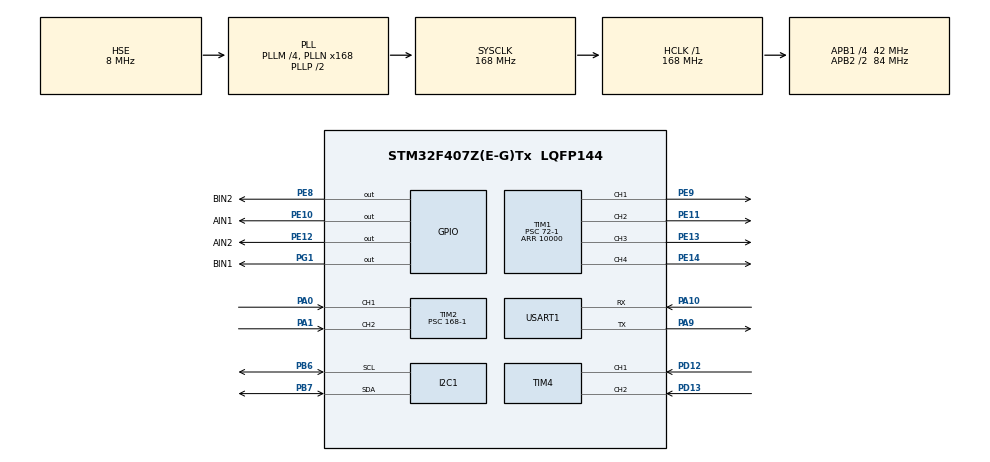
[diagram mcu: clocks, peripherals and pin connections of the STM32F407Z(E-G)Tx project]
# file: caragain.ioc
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Mcu.Family=STM32F4
Mcu.Name=STM32F407Z(E-G)Tx
Mcu.Package=LQFP144
NVIC.PriorityGroup=NVIC_PRIORITYGROUP_4
NVIC.TIM1_UP_TIM10_IRQn=true\:0\:0\:false\:false\:true\:true\:true\:true
NVIC.TIM2_IRQn=true\:0\:0\:false\:false\:true\:true\:true\:true
NVIC.TIM6_DAC_IRQn=true\:1\:0\:true\:false\:true\:true\:true\:true
PA0-WKUP.GPIO_PuPd=GPIO_PULLUP
PA0-WKUP.Signal=S_TIM2_CH1_ETR
PA1.GPIO_PuPd=GPIO_PULLUP
PA1.Signal=S_TIM2_CH2
PA10.Mode=Asynchronous
PA10.Signal=USART1_RX
PA13.Mode=Serial_Wire
PA13.Signal=SYS_JTMS-SWDIO
PA14.Mode=Serial_Wire
PA14.Signal=SYS_JTCK-SWCLK
PA9.Mode=Asynchronous
PA9.Signal=USART1_TX
PB6.GPIO_Pu=GPIO_PULLUP
PB6.Mode=I2C
PB6.Signal=I2C1_SCL
PB7.Mode=I2C
PB7.Signal=I2C1_SDA
PC14-OSC32_IN.Mode=LSE-External-Oscillator
PC14-OSC32_IN.Signal=RCC_OSC32_IN
PC15-OSC32_OUT.Mode=LSE-External-Oscillator
PC15-OSC32_OUT.Signal=RCC_OSC32_OUT
PD12.Signal=S_TIM4_CH1
PD13.Signal=S_TIM4_CH2
PE10.GPIO_Label=AIN1
PE10.PinState=GPIO_PIN_SET
PE10.Signal=GPIO_Output
PE11.Signal=S_TIM1_CH2
PE12.GPIO_Label=AIN2
PE12.Signal=GPIO_Output
PE13.Signal=S_TIM1_CH3
PE14.Signal=S_TIM1_CH4
PE8.GPIO_Label=BIN2
PE8.Signal=GPIO_Output
PE9.Signal=S_TIM1_CH1
PG1.GPIO_Label=BIN1
PG1.PinState=GPIO_PIN_SET
PG1.Signal=GPIO_Output
PH0-OSC_IN.Mode=HSE-External-Oscillator
PH0-OSC_IN.Signal=RCC_OSC_IN
PH1-OSC_OUT.Mode=HSE-External-Oscillator
PH1-OSC_OUT.Signal=RCC_OSC_OUT
ProjectManager.HeapSize=0x200
ProjectManager.StackSize=0x400
ProjectManager.TargetToolchain=MDK-ARM V5.32
RCC.48MHZClocksFreq_Value=84000000
RCC.AHBFreq_Value=168000000
RCC.APB1CLKDivider=RCC_HCLK_DIV4
RCC.APB1Freq_Value=42000000
RCC.APB1TimFreq_Value=84000000
RCC.APB2CLKDivider=RCC_HCLK_DIV2
RCC.APB2Freq_Value=84000000
RCC.APB2TimFreq_Value=168000000
RCC.CortexFreq_Value=168000000
RCC.HCLKFreq_Value=168000000
RCC.HSE_VALUE=8000000
RCC.HSI_VALUE=16000000
RCC.PLLM=4
RCC.PLLN=168
RCC.PLLSourceVirtual=RCC_PLLSOURCE_HSE
RCC.SYSCLKFreq_VALUE=168000000
RCC.SYSCLKSource=RCC_SYSCLKSOURCE_PLLCLK
RCC.VCOOutputFreq_Value=336000000
SH.S_TIM1_CH1.0=TIM1_CH1,PWM Generation1 CH1
SH.S_TIM1_CH2.0=TIM1_CH2,PWM Generation2 CH2
SH.S_TIM1_CH3.0=TIM1_CH3,PWM Generation3 CH3
SH.S_TIM1_CH4.0=TIM1_CH4,PWM Generation4 CH4
SH.S_TIM2_CH1_ETR.0=TIM2_CH1,Encoder_Interface
SH.S_TIM2_CH2.0=TIM2_CH2,Encoder_Interface
SH.S_TIM4_CH1.0=TIM4_CH1,Encoder_Interface
SH.S_TIM4_CH2.0=TIM4_CH2,Encoder_Interface
TIM1.Channel-PWM\ Generation1\ CH1=TIM_CHANNEL_1
TIM1.Channel-PWM\ Generation2\ CH2=TIM_CHANNEL_2
TIM1.Channel-PWM\ Generation3\ CH3=TIM_CHANNEL_3
TIM1.Channel-PWM\ Generation4\ CH4=TIM_CHANNEL_4
TIM1.Period=10000
TIM1.Prescaler=72-1
TIM2.AutoReloadPreload=TIM_AUTORELOAD_PRELOAD_DISABLE
TIM2.ClockDivision=TIM_CLOCKDIVISION_DIV4
TIM2.EncoderMode=TIM_ENCODERMODE_TI12
TIM2.Period=20000-1
TIM2.Prescaler=168-1
TIM6.Period=1000-1
TIM6.Prescaler=168-1
USART1.VirtualMode=VM_ASYNC
VP_TIM1_VS_ClockSourceINT.Mode=Internal
VP_TIM6_VS_ClockSourceINT.Mode=Enable_Timer
board=custom

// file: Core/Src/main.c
/* USER CODE BEGIN Header */
/**
  ******************************************************************************
  * @file           : main.c
  * @brief          : Main program body
  ******************************************************************************
  * @attention
  *
  * Copyright (c) 2023 STMicroelectronics.
  * All rights reserved.
  *
  * This software is licensed under terms that can be found in the LICENSE file
  * in the root directory of this software component.
  * If no LICENSE file comes with this software, it is provided AS-IS.
  *
  ******************************************************************************
  */
/* USER CODE END Header */
#include "main.h"
#include "i2c.h"
#include "tim.h"
#include "usart.h"
#include "gpio.h"

/* USER CODE BEGIN Includes */
#include "motor.h"
#include  "oled.h"
#include "oled_font.h"
/* USER CODE END Includes */

void SystemClock_Config(void);

/* USER CODE BEGIN 0 */

float  n=0;//转速，单位为：转/秒
short encoder_counter=0;//STM32编码器模式读取的总脉冲数

void GET_NUM(void)
{
	encoder_counter=(short) __HAL_TIM_GET_COUNTER(&htim2);
	__HAL_TIM_SET_COUNTER(&htim2,0);
}

/**
 * @function:void HAL_TIM_PeriodElapsedCallback(TIM_HandleTypeDef *htim)
 * @description: 定时器中断回调函数，0.1S中断一次并计算转速，将电机转速以及编码器产生的脉冲数显示在OLED屏上
 * @param {TIM_HandleTypeDef *htim}
 * @return {*}
 */
void HAL_TIM_PeriodElapsedCallback(TIM_HandleTypeDef *htim)
{
	if(htim==&htim6)
	{
		 GET_NUM();//得到所记录的脉冲数
		 OLED_Showdecimal(0,6,encoder_counter,5,2,12);//在特定位置显示5位整数+2位小数的脉冲数
		 n=(float)encoder_counter/1820/0.1;						//转速为n，r/s
		//编码器单圈13脉冲，减速比为35:1，单圈为455脉冲每圈，可以通过stm32编码器模式4倍频至1820脉冲每圈。定时器中断是0.1S执行一次
		 OLED_Showdecimal(0,4,n,2,2,12);							//在特定位置显示2位整数+2位小数的电机转速
	}
}
/*
void HAL_TIM_PeriodElapsedCallback(TIM_HandleTypeDef *htim){
	if(htim->Instance==htim6.Instance){
		int16_t pluse=COUNTERNUM-RELOADVALUE/2;
		motor.totalAngle=pluse+motor.loopNum*RELOADVALUE/2;
		motor.speed=(float)(motor.totalAngle-motor.lastAngle)/(4*13*RR)*6000;
		//OLED_Showdecimal(0,4,motor.speed,2,2,12);
		motor.lastAngle=motor.totalAngle;
	}
	else if(htim->Instance==htim2.Instance){
		if(COUNTERNUM<10000) motor.loopNum--;
		else if(COUNTERNUM>10000)  motor.loopNum++;
		__HAL_TIM_SetCounter(&htim2, 10000);
	}
}*/
/* USER CODE END 0 */

int main(void)
{

  /* MCU Configuration--------------------------------------------------------*/

  /* Reset of all peripherals, Initializes the Flash interface and the Systick. */
  HAL_Init();

  /* Configure the system clock */
  SystemClock_Config();

  /* Initialize all configured peripherals */
  MX_GPIO_Init();
  MX_TIM1_Init();
  MX_TIM2_Init();
  MX_TIM6_Init();
  MX_I2C1_Init();
  MX_USART1_UART_Init();
  MX_TIM4_Init();
  /* USER CODE BEGIN 2 */
   Motor_Init();
	OLED_Init();
  OLED_Clear();
	OLED_ShowStr(0,0,"Rotational Speed:",1);
  OLED_ShowStr(50,4,"rad/s",1);

  /* USER CODE END 2 */

  /* Infinite loop */
  /* USER CODE BEGIN WHILE */
  while (1)
  {
		__HAL_TIM_SetCompare(&htim1,TIM_CHANNEL_1,5000);
		__HAL_TIM_SetCompare(&htim1,TIM_CHANNEL_2,5000);
		__HAL_TIM_SetCompare(&htim1,TIM_CHANNEL_3,5000);

		MOTOR_GO;
    /* USER CODE END WHILE */

  }
}

void SystemClock_Config(void)
{
  RCC_OscInitTypeDef RCC_OscInitStruct = {0};
  RCC_ClkInitTypeDef RCC_ClkInitStruct = {0};

  /** Configure the main internal regulator output voltage
  */
  __HAL_RCC_PWR_CLK_ENABLE();
  __HAL_PWR_VOLTAGESCALING_CONFIG(PWR_REGULATOR_VOLTAGE_SCALE1);

  /** Initializes the RCC Oscillators according to the specified parameters
  * in the RCC_OscInitTypeDef structure.
  */
  RCC_OscInitStruct.OscillatorType = RCC_OSCILLATORTYPE_HSE;
  RCC_OscInitStruct.HSEState = RCC_HSE_ON;
  RCC_OscInitStruct.PLL.PLLState = RCC_PLL_ON;
  RCC_OscInitStruct.PLL.PLLSource = RCC_PLLSOURCE_HSE;
  RCC_OscInitStruct.PLL.PLLM = 4;
  RCC_OscInitStruct.PLL.PLLN = 168;
  RCC_OscInitStruct.PLL.PLLP = RCC_PLLP_DIV2;
  RCC_OscInitStruct.PLL.PLLQ = 4;
  if (HAL_RCC_OscConfig(&RCC_OscInitStruct) != HAL_OK)
  {
    Error_Handler();
  }

  /** Initializes the CPU, AHB and APB buses clocks
  */
  RCC_ClkInitStruct.ClockType = RCC_CLOCKTYPE_HCLK|RCC_CLOCKTYPE_SYSCLK
                              |RCC_CLOCKTYPE_PCLK1|RCC_CLOCKTYPE_PCLK2;
  RCC_ClkInitStruct.SYSCLKSource = RCC_SYSCLKSOURCE_PLLCLK;
  RCC_ClkInitStruct.AHBCLKDivider = RCC_SYSCLK_DIV1;
  RCC_ClkInitStruct.APB1CLKDivider = RCC_HCLK_DIV4;
  RCC_ClkInitStruct.APB2CLKDivider = RCC_HCLK_DIV2;

  if (HAL_RCC_ClockConfig(&RCC_ClkInitStruct, FLASH_LATENCY_5) != HAL_OK)
  {
    Error_Handler();
  }
}

void Error_Handler(void)
{
  __disable_irq();
  while (1)
  {
  }
}
